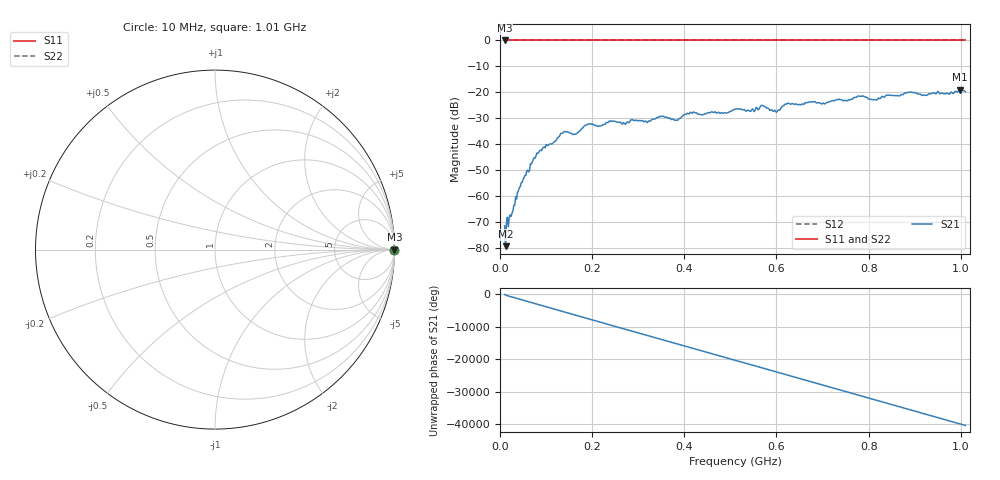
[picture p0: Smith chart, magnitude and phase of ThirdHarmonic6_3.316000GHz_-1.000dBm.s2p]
! 8/17/2025 10:22:45 AM
! C:\ANRITSUVNA\TEMP\TEMP.S2P
! CHANNEL.1
! TR.MEASUREMENT
! RAW.DATA
! RF.CORRECTION.OFF
! AVERAGING.OFF
! IF.BANDWIDTH: 5KHZ
! SWEEPTYPE:  FREQ.SWEEP(Linear)
! Reference Plane Port Info
! PORT:  PORT1  PORT2
! DISTANCE:  0  m  0  m
! TIME:  0  s  0  s
! PHASE.OFFSET:  0  deg.  0  deg.
! LOSS:  0  dB  0  dB
! REF.LOSS:  0  dB  0  dB
! REF.FREQ:  0  Hz  0  Hz
! Power Info
! POWER:  -20  dBm  -20  dBm
! EFF.POWER:  -20  dBm  -20  dBm
! SOURCE.ATTEN:  0  dB  0  dB
! TEST.ATTEN:  0  dB  0  dB
# GHZ S RI R 50.0
! FREQ.GHZ  S11RE  S11IM  S21RE  S21IM  S12RE  S12IM  S22RE  S22IM
!; PortSelection: Port_12
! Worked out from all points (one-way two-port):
!   501 points, 10 MHz to 1.01 GHz, reference 50 ohm
!   highest |S21| = -19.04 dB at 998 MHz (marker M1); lowest = -79.4 dB at 12 MHz (marker M2)
!   lowest |S11| = 0.0 dB at 10 MHz (marker M3)
!   |S11| at or under -10 dB: nowhere
!   |S22| runs from 0.0 to 0.0 dB; largest |S21 - S12| = 1.1
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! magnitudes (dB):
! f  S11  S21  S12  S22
! 10 MHz  0.0  -71.5  0.0  0.0
! 12 MHz  0.0  -79.4  0.0  0.0
! 16 MHz  0.0  -68.2  0.0  0.0
! 18 MHz  0.0  -71.9  0.0  0.0
! 50 MHz  0.0  -53.7  0.0  0.0
! 84 MHz  0.0  -43.2  0.0  0.0
! 136 MHz  0.0  -35.7  0.0  0.0
! 162 MHz  0.0  -36.2  0.0  0.0
! 178 MHz  0.0  -33.9  0.0  0.0
! 344 MHz  0.0  -29.7  0.0  0.0
! 382 MHz  0.0  -30.7  0.0  0.0
! 416 MHz  0.0  -28.0  0.0  0.0
! 510 MHz  0.0  -26.5  0.0  0.0
! 570 MHz  0.0  -25.1  0.0  0.0
! 598 MHz  0.0  -27.4  0.0  0.0
! 622 MHz  0.0  -24.5  0.0  0.0
! 678 MHz  0.0  -23.7  0.0  0.0
! 782 MHz  0.0  -21.5  0.0  0.0
! 814 MHz  0.0  -22.8  0.0  0.0
! 844 MHz  0.0  -21.1  0.0  0.0
! 998 MHz  0.0  -19.0  0.0  0.0
! 1.01 GHz  0.0  -19.8  0.0  0.0
